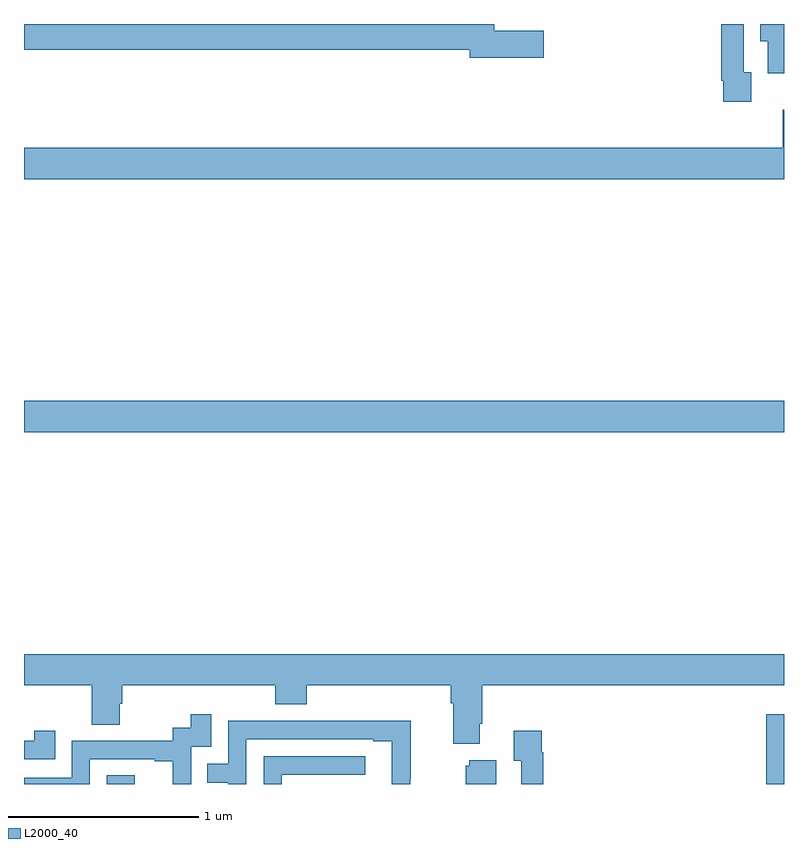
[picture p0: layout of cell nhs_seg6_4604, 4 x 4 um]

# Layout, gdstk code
import gdstk
lib = gdstk.Library(unit=1e-6, precision=1e-09)
def R(c, l, rs):  # rectangles x0, y0, x1, y1
    for r in rs: c.add(gdstk.rectangle(r[:2], r[2:], *l))
def P(c, l, *ps):  # polygons
    for p in ps: c.add(gdstk.Polygon(p, *l))
L2000_40 = (2000, 40)

nhs_seg6_4604 = lib.new_cell('nhs_seg6_4604')
R(nhs_seg6_4604, L2000_40, [(383.436,929.5,383.584,929.545), (386.906,929.5,387,929.866), (383,931.352,387,931.516)])
P(nhs_seg6_4604, L2000_40, [(386.827,933.246),(386.787,933.246),(386.787,933.5),(386.671,933.5),(386.671,933.202),(386.679,933.202),(386.679,933.09),(386.827,933.09)],
  [(387,933.5),(386.876,933.5),(386.876,933.41),(386.915,933.41),(386.915,933.242),(387,933.242)],
  [(385.735,933.464),(385.474,933.464),(385.474,933.5),(383,933.5),(383,933.364),(385.346,933.364),(385.346,933.322),(385.735,933.322)],
  [(387,933.05),(386.993,933.05),(386.993,932.848),(383,932.848),(383,932.684),(387,932.684)],
  [(385.399,929.818),(385.412,929.818),(385.412,930.02),(387,930.02),(387,930.184),(383,930.184),(383,930.02),(383.356,930.02),(383.356,929.812),(383.503,929.812),(383.503,929.922),(383.516,929.922),(383.516,930.02),(384.323,930.02),(384.323,929.921),(384.488,929.921),(384.488,930.02),(385.247,930.02),(385.247,929.924),(385.259,929.924),(385.259,929.711),(385.399,929.711)],
  [(383.346,929.631),(383.687,929.631),(383.687,929.619),(383.783,929.619),(383.783,929.5),(383.88,929.5),(383.88,929.697),(383.985,929.697),(383.985,929.866),(383.877,929.866),(383.877,929.796),(383.784,929.796),(383.784,929.727),(383.25,929.727),(383.25,929.532),(383,929.532),(383,929.5),(383.346,929.5)],
  [(384.171,929.736),(384.839,929.736),(384.839,929.724),(384.936,929.724),(384.936,929.5),(385.032,929.5),(385.032,929.527),(385.035,929.527),(385.035,929.834),(384.571,929.834),(384.571,929.832),(384.075,929.832),(384.075,929.607),(383.965,929.607),(383.965,929.506),(384.075,929.506),(384.075,929.5),(384.171,929.5)],
  [(385.733,929.666),(385.726,929.666),(385.726,929.779),(385.577,929.779),(385.577,929.623),(385.617,929.623),(385.617,929.5),(385.733,929.5)],
  [(383.165,929.779),(383.054,929.779),(383.054,929.727),(383,929.727),(383,929.631),(383.165,929.631)],
  [(384.357,929.55),(384.796,929.55),(384.796,929.646),(384.261,929.646),(384.261,929.5),(384.357,929.5)],
  [(385.486,929.626),(385.343,929.626),(385.343,929.595),(385.325,929.595),(385.325,929.5),(385.486,929.5)])

lib.write_gds('nhs_seg6_4604.gds')
